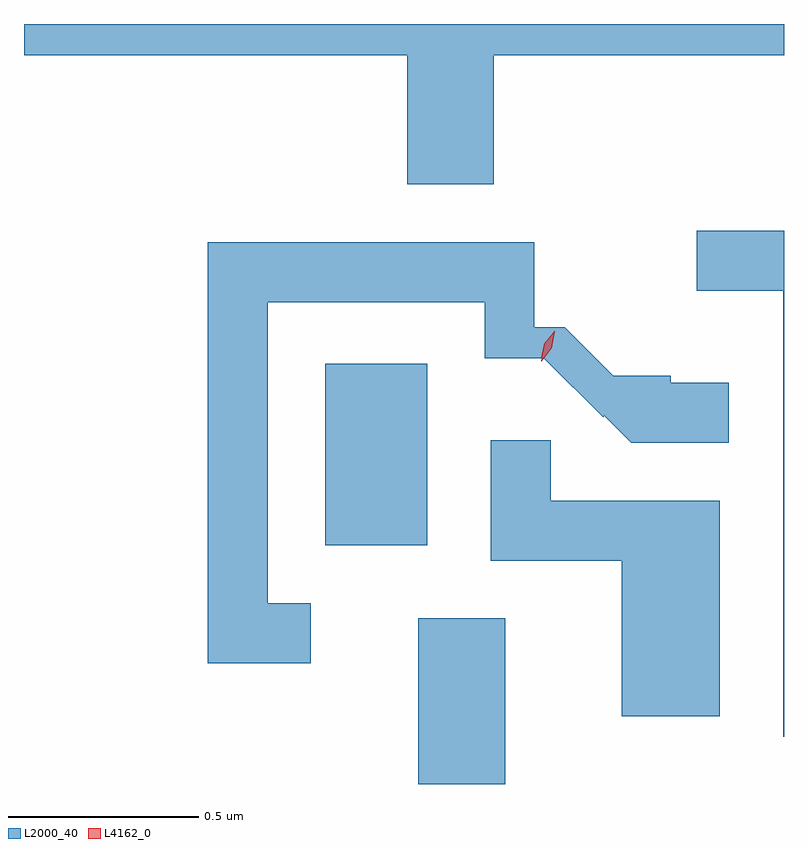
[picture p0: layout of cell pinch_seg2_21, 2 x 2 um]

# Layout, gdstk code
import gdstk
lib = gdstk.Library(unit=1e-6, precision=1e-09)
def R(c, l, rs):  # rectangles x0, y0, x1, y1
    for r in rs: c.add(gdstk.rectangle(r[:2], r[2:], *l))
def P(c, l, *ps):  # polygons
    for p in ps: c.add(gdstk.Polygon(p, *l))
L2000_40 = (2000, 40)
L4162_0 = (4162, 0)

pinch_seg2_21 = lib.new_cell('pinch_seg2_21')
R(pinch_seg2_21, L2000_40, [(1659.581,1019.758,1659.809,1020.194), (1659.336,1020.386,1659.604,1020.864)])
P(pinch_seg2_21, L2000_40, [(1659.779,1021.676),(1660.543,1021.676),(1660.543,1021.758),(1658.543,1021.758),(1658.543,1021.676),(1659.551,1021.676),(1659.551,1021.336),(1659.779,1021.336)],
  [(1660.543,1021.214),(1660.313,1021.214),(1660.313,1021.056),(1660.541,1021.056),(1660.541,1019.883),(1660.543,1019.883)],
  [(1659.298,1020.234),(1659.184,1020.234),(1659.184,1021.026),(1659.756,1021.026),(1659.756,1020.879),(1659.911,1020.879),(1660.067,1020.723),(1660.07,1020.727),(1660.141,1020.656),(1660.398,1020.656),(1660.398,1020.814),(1660.245,1020.814),(1660.245,1020.833),(1660.093,1020.833),(1659.966,1020.96),(1659.886,1020.96),(1659.886,1021.184),(1659.026,1021.184),(1659.026,1020.076),(1659.298,1020.076)],
  [(1660.374,1020.504),(1659.929,1020.504),(1659.929,1020.663),(1659.771,1020.663),(1659.771,1020.346),(1660.116,1020.346),(1660.116,1019.936),(1660.374,1019.936)])
P(pinch_seg2_21, L4162_0, [(1659.904,1020.871),(1659.913,1020.915),(1659.939,1020.95),(1659.94,1020.95),(1659.94,1020.95),(1659.932,1020.906),(1659.906,1020.871),(1659.905,1020.871)],
  [(1659.905,1020.877),(1659.904,1020.878),(1659.912,1020.916),(1659.936,1020.945),(1659.937,1020.946),(1659.937,1020.945),(1659.93,1020.907),(1659.906,1020.877)])

lib.write_gds('pinch_seg2_21.gds')
